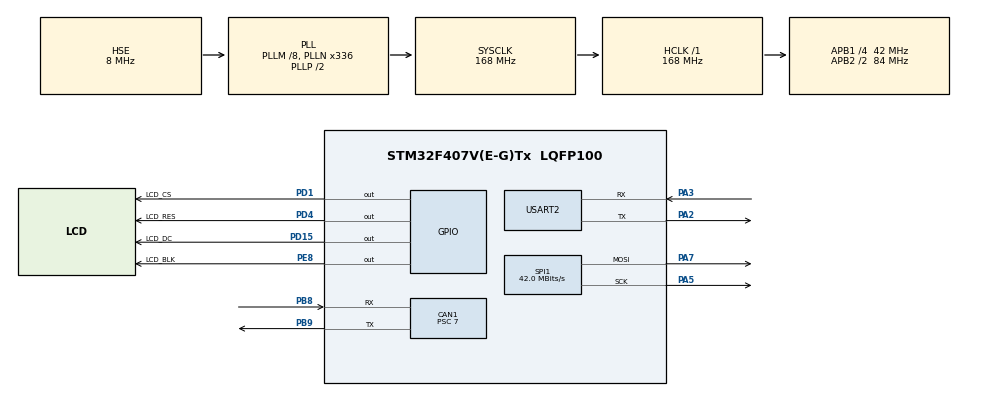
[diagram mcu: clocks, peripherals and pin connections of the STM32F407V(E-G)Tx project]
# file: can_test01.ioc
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CAN1.BS1=CAN_BS1_9TQ
CAN1.BS2=CAN_BS2_2TQ
CAN1.CalculateBaudRate=499999
CAN1.CalculateTimeBit=2000
CAN1.CalculateTimeQuantum=166.66666666666669
CAN1.Prescaler=7
FREERTOS.Mutexes01=LvglMutex,Dynamic,NULL,Available
FREERTOS.Queues01=CanRxQueue,90,uint8_t,0,Dynamic,NULL,NULL
FREERTOS.Tasks01=GuiTask,24,1024,StartDefaultTask,Default,NULL,Dynamic,NULL,NULL;CanTask,40,512,StartCanTask,Default,NULL,Dynamic,NULL,NULL;RtcTask,8,256,StartRtcTask,Default,NULL,Dynamic,NULL,NULL
FREERTOS.configTOTAL_HEAP_SIZE=20480
Mcu.Family=STM32F4
Mcu.Name=STM32F407V(E-G)Tx
Mcu.Package=LQFP100
NVIC.CAN1_RX0_IRQn=true\:5\:0\:false\:false\:true\:true\:true\:true\:true
NVIC.PriorityGroup=NVIC_PRIORITYGROUP_4
NVIC.TIM6_DAC_IRQn=true\:5\:0\:false\:false\:true\:true\:true\:true\:true
NVIC.TIM7_IRQn=true\:15\:0\:false\:false\:true\:false\:false\:true\:true
NVIC.TimeBase=TIM7_IRQn
NVIC.TimeBaseIP=TIM7
PA13.Mode=Serial_Wire
PA13.Signal=SYS_JTMS-SWDIO
PA14.Mode=Serial_Wire
PA14.Signal=SYS_JTCK-SWCLK
PA2.Mode=Asynchronous
PA2.Signal=USART2_TX
PA3.Mode=Asynchronous
PA3.Signal=USART2_RX
PA5.Mode=TX_Only_Simplex_Unidirect_Master
PA5.Signal=SPI1_SCK
PA7.Mode=TX_Only_Simplex_Unidirect_Master
PA7.Signal=SPI1_MOSI
PB8.Mode=CAN_Activate
PB8.Signal=CAN1_RX
PB9.Mode=CAN_Activate
PB9.Signal=CAN1_TX
PD1.GPIO_Label=LCD_CS
PD1.GPIO_ModeDefaultOutputPP=GPIO_MODE_OUTPUT_PP
PD1.GPIO_PuPd=GPIO_NOPULL
PD1.GPIO_Speed=GPIO_SPEED_FREQ_LOW
PD1.PinState=GPIO_PIN_SET
PD1.Signal=GPIO_Output
PD15.GPIO_Label=LCD_DC
PD15.GPIO_ModeDefaultOutputPP=GPIO_MODE_OUTPUT_PP
PD15.GPIO_PuPd=GPIO_NOPULL
PD15.GPIO_Speed=GPIO_SPEED_FREQ_LOW
PD15.PinState=GPIO_PIN_SET
PD15.Signal=GPIO_Output
PD4.GPIO_Label=LCD_RES
PD4.GPIO_ModeDefaultOutputPP=GPIO_MODE_OUTPUT_PP
PD4.GPIO_PuPd=GPIO_NOPULL
PD4.GPIO_Speed=GPIO_SPEED_FREQ_LOW
PD4.PinState=GPIO_PIN_SET
PD4.Signal=GPIO_Output
PE8.GPIO_Label=LCD_BLK
PE8.GPIO_ModeDefaultOutputPP=GPIO_MODE_OUTPUT_PP
PE8.GPIO_PuPd=GPIO_NOPULL
PE8.GPIO_Speed=GPIO_SPEED_FREQ_LOW
PE8.PinState=GPIO_PIN_RESET
PE8.Signal=GPIO_Output
PH0-OSC_IN.Mode=HSE-External-Oscillator
PH0-OSC_IN.Signal=RCC_OSC_IN
PH1-OSC_OUT.Mode=HSE-External-Oscillator
PH1-OSC_OUT.Signal=RCC_OSC_OUT
ProjectManager.HeapSize=0x200
ProjectManager.StackSize=0x700
ProjectManager.TargetToolchain=MDK-ARM V5.32
RCC.48MHZClocksFreq_Value=84000000
RCC.AHBFreq_Value=168000000
RCC.APB1CLKDivider=RCC_HCLK_DIV4
RCC.APB1Freq_Value=42000000
RCC.APB1TimFreq_Value=84000000
RCC.APB2CLKDivider=RCC_HCLK_DIV2
RCC.APB2Freq_Value=84000000
RCC.APB2TimFreq_Value=168000000
RCC.CortexFreq_Value=168000000
RCC.HCLKFreq_Value=168000000
RCC.HSE_VALUE=8000000
RCC.HSI_VALUE=16000000
RCC.LSE_VALUE=32768
RCC.PLLM=8
RCC.PLLN=336
RCC.PLLSourceVirtual=RCC_PLLSOURCE_HSE
RCC.SYSCLKFreq_VALUE=168000000
RCC.SYSCLKSource=RCC_SYSCLKSOURCE_PLLCLK
RCC.VCOOutputFreq_Value=336000000
SPI1.BaudRatePrescaler=SPI_BAUDRATEPRESCALER_2
SPI1.CLKPhase=SPI_PHASE_2EDGE
SPI1.CLKPolarity=SPI_POLARITY_HIGH
SPI1.CalculateBaudRate=42.0 MBits/s
SPI1.Direction=SPI_DIRECTION_2LINES
SPI1.Mode=SPI_MODE_MASTER
SPI1.VirtualType=VM_MASTER
TIM6.Prescaler=84-1
USART2.VirtualMode=VM_ASYNC
VP_FREERTOS_VS_CMSIS_V2.Mode=CMSIS_V2
VP_RTC_VS_RTC_Activate.Mode=RTC_Enabled
VP_RTC_VS_RTC_Calendar.Mode=RTC_Calendar
VP_SYS_VS_tim7.Mode=TIM7
VP_TIM6_VS_ClockSourceINT.Mode=Enable_Timer
board=custom

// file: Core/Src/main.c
/* USER CODE BEGIN Header */
/*********************************************************************************
 * @file           : main.c
 * @project        : 汽车方向盘双表盘液晶仪表系统 APP1 (STM32F407VET6 + ST7796 3.5寸 SPI LCD)
 * @author         : Antigravity & Engineering Team (电赛/工业级规范)
 * @brief          : APP1 向量表重映射、CAN 0x0B3 远程升级触发、双表盘阻尼指针与 RTC 协同调度
 *
 * ================================================================
 * 【系统硬件外设与通信拓扑架构档案】:
 *
 * 1. 系统主频与时钟树分配:
 *    - 外部高频晶振 HSE = 8 MHz
 *    - 经过主 PLL 倍频: /M(8) * N(336) / P(2) -> 主频 SYSCLK = 168 MHz
 *    - 高速总线 AHB = 168 MHz (驱动 Cortex-M4 内核、128KB SRAM 与 DMA)
 *    - 低速总线 APB1 = 42 MHz (驱动 CAN1 控制器, 波特率 500 kbps, 12TQ)
 *    - 高速总线 APB2 = 84 MHz (驱动 SPI1 主机模式, 42 MBits/s 极速刷屏)
 *
 * 2. 硬件引脚与外设映射清单:
 *    - 调试串口  : USART2 (TX: PA2) -> 115200 波特率，底层重定向 fputc/printf
 *    - CAN通信   : CAN1 (RX: PB8, TX: PB9) -> 复用 AF9, 外部接 VP230/TJA1050
 *    - 液晶屏显示 : ST7796S (SCK: PA5, MOSI: PA7) -> 硬件 SPI1 主机模式
 *    - 心跳时钟  : SysTick 1ms 硬件心跳 -> LV_TICK_CUSTOM 直接对接 HAL_GetTick()
 *    - 图形引擎  : LVGL 8.3.11 + SquareLine Studio 双表盘仪表 (时速 + 转速 + 报警)
 *
 * 3. Flash 分区与 CAN OTA 远程升级协同:
 *    - 本工程链接起始地址为 0x08010000 (Sector 4~7, 448KB)
 *    - 收到 CAN ID 0x0B3 (BE AD BE EF 01) 时，将 Sector 3 (0x0800C000) 的 ota_flag 置 1，
 *      随即调用 HAL_NVIC_SystemReset() 软复位进入 Bootloader 接收新固件 (如黑猫警长 APP2)
 * ================================================================
 *********************************************************************************/
/* USER CODE END Header */
#include "main.h"
#include "can_handle.h"
#include "cmsis_os.h"
#include "can.h"
#include "rtc.h"
#include "spi.h"
#include "tim.h"
#include "usart.h"
#include "gpio.h"

/* USER CODE BEGIN Includes */
#include "headfile.h"
#include "inter_flashif.h"
#include "inter_flash_cfg.h"
#include "lvgl.h"
#include "lv_port_disp_template.h"
#include "lv_demo_stress.h"
#include "ui.h"
/* USER CODE END Includes */

void SystemClock_Config(void);
void MX_FREERTOS_Init(void);
/* USER CODE BEGIN PFP */
void App_UI_Update(void);
void App_RTC_Update(void);
/* USER CODE END PFP */

int main(void)
{

  /* USER CODE BEGIN 1 */
  // ⚠️ 极其关键的手术：Bootloader 跳转前执行了 __disable_irq()，
  //    APP 启动第一件事必须将中断向量表重映射至 0x08010000 并重新打开全局中断！
  SCB->VTOR = INTER_FLASH_APP_ADDR;
  __set_PRIMASK(0U);
  /* USER CODE END 1 */

  /* MCU Configuration--------------------------------------------------------*/

  /* Reset of all peripherals, Initializes the Flash interface and the Systick. */
  HAL_Init();

  /* Configure the system clock */
  SystemClock_Config();

  /* Initialize all configured peripherals */
  MX_GPIO_Init();
  MX_CAN1_Init();
  MX_USART2_UART_Init();
  MX_SPI1_Init();
  MX_TIM6_Init();
  MX_RTC_Init();
  /* USER CODE BEGIN 2 */
  // ================================================================
  // 系统外设与 GUI 引擎初始化流水线 (严格步骤)
  // ================================================================

  // ------- 步骤 1: LVGL 图形库核心对象与内存池初始化 -------
  lv_init();

  // ------- 步骤 2: 注册显示驱动与局部行缓冲 (ST7796 480x320) -------
  lv_port_disp_init();

  // ------- 步骤 3: 构建由 SquareLine 导出的双仪表盘 UI 对象树 -------
  ui_init();

  // ------- 步骤 4: 启动硬件定时器 TIM6 -------
  HAL_TIM_Base_Start_IT(&htim6);

  // ------- 步骤 5: 配置 CAN1 硬件验收全通滤波器并校验 Sector 3 参数区 -------
  can_filter_init();
  inter_flash_cfg_init();

  // ------- 步骤 6: 实时时钟首帧零延迟秒刷 (开机即准，彻底消灭复位时的 1 秒死文本) -------
  {
      RTC_TimeTypeDef boot_time;
      RTC_DateTypeDef boot_date;
      char boot_t_buf[16];
      char boot_d_buf[16];

      // 立即读取当前 RTC 时间 (成对调用以解锁影子寄存器)
      HAL_RTC_GetTime(&hrtc, &boot_time, RTC_FORMAT_BIN);
      HAL_RTC_GetDate(&hrtc, &boot_date, RTC_FORMAT_BIN);

      // 格式化文本
      sprintf(boot_t_buf, "%02d:%02d:%02d", boot_time.Hours, boot_time.Minutes, boot_time.Seconds);
      sprintf(boot_d_buf, "20%02d-%02d-%02d", boot_date.Year, boot_date.Month, boot_date.Date);

      // 在屏幕首次刷新前，直接将标签覆盖为 RTC 真实时间，开机即准！
      lv_label_set_text(ui_time, boot_t_buf);
      lv_label_set_text(ui_data, boot_d_buf);
  }

  /* USER CODE END 2 */

  /* Init scheduler */
  osKernelInitialize();  /* Call init function for freertos objects (in cmsis_os2.c) */
  MX_FREERTOS_Init();

  /* Start scheduler */
  osKernelStart();

  /* We should never get here as control is now taken by the scheduler */

  /* Infinite loop */
  while (1)
  {

  }
}

void SystemClock_Config(void)
{
  RCC_OscInitTypeDef RCC_OscInitStruct = {0};
  RCC_ClkInitTypeDef RCC_ClkInitStruct = {0};

  /** Configure the main internal regulator output voltage
  */
  __HAL_RCC_PWR_CLK_ENABLE();
  __HAL_PWR_VOLTAGESCALING_CONFIG(PWR_REGULATOR_VOLTAGE_SCALE1);

  /** Initializes the RCC Oscillators according to the specified parameters
  * in the RCC_OscInitTypeDef structure.
  */
  RCC_OscInitStruct.OscillatorType = RCC_OSCILLATORTYPE_LSI|RCC_OSCILLATORTYPE_HSE;
  RCC_OscInitStruct.HSEState = RCC_HSE_ON;
  RCC_OscInitStruct.LSIState = RCC_LSI_ON;
  RCC_OscInitStruct.PLL.PLLState = RCC_PLL_ON;
  RCC_OscInitStruct.PLL.PLLSource = RCC_PLLSOURCE_HSE;
  RCC_OscInitStruct.PLL.PLLM = 8;
  RCC_OscInitStruct.PLL.PLLN = 336;
  RCC_OscInitStruct.PLL.PLLP = RCC_PLLP_DIV2;
  RCC_OscInitStruct.PLL.PLLQ = 4;
  if (HAL_RCC_OscConfig(&RCC_OscInitStruct) != HAL_OK)
  {
    Error_Handler();
  }

  /** Initializes the CPU, AHB and APB buses clocks
  */
  RCC_ClkInitStruct.ClockType = RCC_CLOCKTYPE_HCLK|RCC_CLOCKTYPE_SYSCLK
                              |RCC_CLOCKTYPE_PCLK1|RCC_CLOCKTYPE_PCLK2;
  RCC_ClkInitStruct.SYSCLKSource = RCC_SYSCLKSOURCE_PLLCLK;
  RCC_ClkInitStruct.AHBCLKDivider = RCC_SYSCLK_DIV1;
  RCC_ClkInitStruct.APB1CLKDivider = RCC_HCLK_DIV4;
  RCC_ClkInitStruct.APB2CLKDivider = RCC_HCLK_DIV2;

  if (HAL_RCC_ClockConfig(&RCC_ClkInitStruct, FLASH_LATENCY_5) != HAL_OK)
  {
    Error_Handler();
  }
}

/* USER CODE BEGIN 4 */
// ================================================================
// 串口输出重定向 (printf -> USART2 TX PA2)
// ================================================================
int fputc(int ch, FILE *f)
{
    HAL_UART_Transmit(&huart2, (uint8_t *)&ch, 1, 0xFFFF);
    return ch;
}

/**
 * @brief  仪表盘 UI 按需刷新 (检查各模块红旗标志位，只在有新数据时渲染)
 */
void App_UI_Update(void)
{
    // 1. 双表盘动力指针阻尼平滑逼近 (时速 0~180 km/h + 转速 0~8000 RPM)
    if (flag_power == 1)
    {
        flag_power = 0; // 收到新数据，红旗降下
    }

    static uint32_t needle_timer = 0;
    static int16_t cur_speed_x10 = 0; // 当前平滑车速 (x10 精度, 0~1800)
    static int16_t cur_rpm_x10 = 0;   // 当前平滑转速 (x10 精度, 0~800)

    // 每 15ms 执行一次微步进阻尼逼近 (约 66 FPS 丝滑物理体验)
    if (HAL_GetTick() - needle_timer >= 15)
    {
        needle_timer = HAL_GetTick();

        // (1) 车速平滑逼近 (限幅 180 km/h)
        int16_t target_s = (speed > 180 ? 180 : speed) * 10;
        int16_t diff_s = target_s - cur_speed_x10;
        if (diff_s != 0)
        {
            int16_t step_s = diff_s / 8;
            if (step_s == 0) step_s = (diff_s > 0) ? 1 : -1;
            cur_speed_x10 += step_s;
            int32_t angle_s = (2250 + (int32_t)cur_speed_x10 * 15 / 10) % 3600;
            lv_img_set_angle(ui_ImageSpeedNeedle, angle_s);
        }

        // (2) 转速平滑逼近 (限幅 8000 RPM, 对应 Rpm=80)
        int16_t target_r = (Rpm > 80 ? 80 : Rpm) * 10;
        int16_t diff_r = target_r - cur_rpm_x10;
        if (diff_r != 0)
        {
            int16_t step_r = diff_r / 8;
            if (step_r == 0) step_r = (diff_r > 0) ? 1 : -1;
            cur_rpm_x10 += step_r;
            int32_t angle_r = (2250 + (int32_t)cur_rpm_x10 * 270 / 80) % 3600;
            lv_img_set_angle(ui_ImageRpmNeedle, angle_r);
        }
    }

    // 2. 水温报警指示灯 (1: 红灯报警, 0: 绿灯正常)
    if (flag_temp == 1)
    {
        flag_temp = 0;
        if (temp == 1)
            lv_obj_set_style_img_recolor(ui_IconTemp, lv_color_hex(0xFF1744), 0); // 报警红
        else
            lv_obj_set_style_img_recolor(ui_IconTemp, lv_color_hex(0x00F374), 0); // 正常绿
        lv_obj_set_style_img_recolor_opa(ui_IconTemp, 255, 0);
    }

    // 3. 安全带指示灯 (1: 红灯未系, 0: 绿灯已系)
    if (flag_belt == 1)
    {
        flag_belt = 0;
        if (belt == 1)
            lv_obj_set_style_img_recolor(ui_IconSeatbelt, lv_color_hex(0xFF1744), 0); // 报警红
        else
            lv_obj_set_style_img_recolor(ui_IconSeatbelt, lv_color_hex(0x00F374), 0); // 正常绿
        lv_obj_set_style_img_recolor_opa(ui_IconSeatbelt, 255, 0);
    }

    // 4. 车灯指示灯 (1: 近光黄, 2: 远光红, 0: 正常绿)
    if (flag_light == 1)
    {
        flag_light = 0;
        if (light == 1)
            lv_obj_set_style_img_recolor(ui_IconLowBeam, lv_color_hex(0xFFD600), 0); // 近光黄
        else if (light == 2)
            lv_obj_set_style_img_recolor(ui_IconLowBeam, lv_color_hex(0xFF1744), 0); // 远光红
        else
            lv_obj_set_style_img_recolor(ui_IconLowBeam, lv_color_hex(0x00F374), 0); // 正常绿
        lv_obj_set_style_img_recolor_opa(ui_IconLowBeam, 255, 0);
    }

    // 5. 转向灯 (1: 绿色开启, 0: 暗灰关闭)
    if (flag_turn_light == 1)
    {
        flag_turn_light = 0;
        if (turn_light == 1)
            lv_obj_set_style_img_recolor(ui_IconTurnLeft, lv_color_hex(0x00F374), 0); // 开启绿
        else
            lv_obj_set_style_img_recolor(ui_IconTurnLeft, lv_color_hex(0x555555), 0); // 关闭暗灰
        lv_obj_set_style_img_recolor_opa(ui_IconTurnLeft, 255, 0);
    }
}

/**
 * @brief  RTC 硬件时钟 1 秒周期刷新 (驱动中央顶部 ui_time 与 ui_data)
 */
void App_RTC_Update(void)
{
    static uint32_t rtc_update_timer = 0;
    if (HAL_GetTick() - rtc_update_timer >= 1000)
    {
        rtc_update_timer = HAL_GetTick();

        RTC_TimeTypeDef cur_time;
        RTC_DateTypeDef cur_date;
        char time_str_buf[16];
        char date_str_buf[16];

        // STM32 HAL 硬件规则: 必须先读 Time 紧接着读 Date，成对调用方可解锁影子寄存器
        HAL_RTC_GetTime(&hrtc, &cur_time, RTC_FORMAT_BIN);
        HAL_RTC_GetDate(&hrtc, &cur_date, RTC_FORMAT_BIN);

        // 格式化时间与日期字符串
        sprintf(time_str_buf, "%02d:%02d:%02d", cur_time.Hours, cur_time.Minutes, cur_time.Seconds);
        sprintf(date_str_buf, "20%02d-%02d-%02d", cur_date.Year, cur_date.Month, cur_date.Date);

        // 刷新 LVGL 文本标签控件
        lv_label_set_text(ui_time, time_str_buf);
        lv_label_set_text(ui_data, date_str_buf);
    }
}
/* USER CODE END 4 */

void HAL_TIM_PeriodElapsedCallback(TIM_HandleTypeDef *htim)
{
  if (htim->Instance == TIM7)
  {
    HAL_IncTick();
  }
}

void Error_Handler(void)
{
  __disable_irq();
  while (1)
  {
  }
}

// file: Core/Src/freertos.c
/* USER CODE BEGIN Header */
/**
  ******************************************************************************
  * File Name          : freertos.c
  * Description        : Code for freertos applications
  ******************************************************************************
  * @attention
  *
  * Copyright (c) 2026 STMicroelectronics.
  * All rights reserved.
  *
  * This software is licensed under terms that can be found in the LICENSE file
  * in the root directory of this software component.
  * If no LICENSE file comes with this software, it is provided AS-IS.
  *
  ******************************************************************************
  */
/* USER CODE END Header */

#include "FreeRTOS.h"
#include "task.h"
#include "main.h"
#include "cmsis_os.h"

/* USER CODE BEGIN Includes */
#include "stdio.h"
#include "can_handle.h"
#include "rtc.h"
#include "inter_flash_cfg.h"
#include "lvgl.h"
#include "ui.h"
/* USER CODE END Includes */

/* Definitions for GuiTask */
osThreadId_t GuiTaskHandle;
const osThreadAttr_t GuiTask_attributes = {
  .name = "GuiTask",
  .stack_size = 1024 * 4,
  .priority = (osPriority_t) osPriorityNormal,
};
/* Definitions for CanTask */
osThreadId_t CanTaskHandle;
const osThreadAttr_t CanTask_attributes = {
  .name = "CanTask",
  .stack_size = 512 * 4,
  .priority = (osPriority_t) osPriorityHigh,
};
/* Definitions for RtcTask */
osThreadId_t RtcTaskHandle;
const osThreadAttr_t RtcTask_attributes = {
  .name = "RtcTask",
  .stack_size = 256 * 4,
  .priority = (osPriority_t) osPriorityLow,
};
/* Definitions for CanRxQueue */
osMessageQueueId_t CanRxQueueHandle;
const osMessageQueueAttr_t CanRxQueue_attributes = {
  .name = "CanRxQueue"
};
/* Definitions for LvglMutex */
osMutexId_t LvglMutexHandle;
const osMutexAttr_t LvglMutex_attributes = {
  .name = "LvglMutex"
};

/* USER CODE BEGIN FunctionPrototypes */
// ★ 车规级 E2E CRC8 计算函数 (SAE J1850 标准：多项式 0x1D，初值 0xFF，结果异或 0xFF)
static uint8_t e2e_calc_crc8(const uint8_t *data, uint8_t len)
{
  uint8_t crc = 0xFFU;
  for (uint8_t i = 0U; i < len; i++)
  {
    crc ^= data[i];
    for (uint8_t bit = 0U; bit < 8U; bit++)
    {
      if ((crc & 0x80U) != 0U)
        crc = (uint8_t)((crc << 1U) ^ 0x1DU);
      else
        crc <<= 1U;
    }
  }
  return (uint8_t)(crc ^ 0xFFU);
}
/* USER CODE END FunctionPrototypes */

void StartDefaultTask(void *argument);
void StartCanTask(void *argument);
void StartRtcTask(void *argument);

void MX_FREERTOS_Init(void); /* (MISRA C 2004 rule 8.1) */

void MX_FREERTOS_Init(void) {
  /* Create the mutex(es) */
  /* creation of LvglMutex */
  LvglMutexHandle = osMutexNew(&LvglMutex_attributes);

  /* Create the queue(s) */
  /* creation of CanRxQueue */
  CanRxQueueHandle = osMessageQueueNew (90, sizeof(uint8_t), &CanRxQueue_attributes);

  /* Create the thread(s) */
  /* creation of GuiTask */
  GuiTaskHandle = osThreadNew(StartDefaultTask, NULL, &GuiTask_attributes);

  /* creation of CanTask */
  CanTaskHandle = osThreadNew(StartCanTask, NULL, &CanTask_attributes);

  /* creation of RtcTask */
  RtcTaskHandle = osThreadNew(StartRtcTask, NULL, &RtcTask_attributes);

}

void StartDefaultTask(void *argument)
{
  /* USER CODE BEGIN StartDefaultTask */
  static int16_t cur_speed_x10 = 0; // 当前时速指针 (0 ~ 1800, 对应 0 ~ 180 km/h)
  static int16_t cur_rpm_x10 = 0;   // 当前转速指针 (0 ~ 800, 对应 0 ~ 8000 RPM)

  /* Infinite loop */
  for(;;)
  {
    // 步骤 1：借钥匙进入 LVGL 安全区
    osMutexAcquire(LvglMutexHandle, osWaitForever);

    // 步骤 2：车速指针平滑逼近 (限幅 180 km/h)
    int16_t target_s = (speed > 180 ? 180 : speed) * 10;
    int16_t diff_s = target_s - cur_speed_x10;
    if (diff_s != 0)
    {
      int16_t step_s = diff_s / 8;
      if (step_s == 0) step_s = (diff_s > 0) ? 1 : -1;
      cur_speed_x10 += step_s;
      int32_t angle_s = (2250 + (int32_t)cur_speed_x10 * 15 / 10) % 3600;
      lv_img_set_angle(ui_ImageSpeedNeedle, angle_s); // 旋转时速表指针
    }

    // 步骤 3：转速指针平滑逼近 (限幅 8000 RPM, 对应 Rpm=80)
    int16_t target_r = (Rpm > 80 ? 80 : Rpm) * 10;
    int16_t diff_r = target_r - cur_rpm_x10;
    if (diff_r != 0)
    {
      int16_t step_r = diff_r / 8;
      if (step_r == 0) step_r = (diff_r > 0) ? 1 : -1;
      cur_rpm_x10 += step_r;
      int32_t angle_r = (2250 + (int32_t)cur_rpm_x10 * 270 / 80) % 3600;
      lv_img_set_angle(ui_ImageRpmNeedle, angle_r);   // 旋转转速表指针
    }

    // 步骤 4：LVGL 渲染引擎重绘脏矩形
    lv_timer_handler();

    // 步骤 5：还钥匙，退出安全区
    osMutexRelease(LvglMutexHandle);

    // 步骤 6：上电秒显后，精准休眠 15ms，保持 66 FPS 丝滑动画
    osDelay(15);
  }
  /* USER CODE END StartDefaultTask */
}

void StartCanTask(void *argument)
{
  /* USER CODE BEGIN StartCanTask */
  uint8_t rx_byte = 0;       // 1. 用来接队列里弹出来的单字节
  uint8_t msg_buf[9] = {0};  // 2. 用来拼装 1帧完整的报文 (1字节ID + 8字节数据 = 9字节)
  uint8_t msg_idx = 0;       // 3. 记录当前拼到了第几个字节 (0 ~ 9)
  /* Infinite loop */
  for(;;)
  {
    osMessageQueueGet(CanRxQueueHandle, &rx_byte, NULL, osWaitForever);
    // 1. 如果当前处于第 0 步：找有效报文 ID (0x0B3 升级帧 或 0x0B4 仪表帧)
    if (msg_idx == 0)
    {
      if (rx_byte == CAN_ID_CALL_OTA || rx_byte == CAN_ID_UI)
      {
        msg_buf[msg_idx++] = rx_byte; // 抓到合法 ID，存进第 0 位，msg_idx 变成 1
      }
    }
    // 2. 已经抓到了 ID，接下来老老实实接收后面的 8 个数据字节
    else
    {
      msg_buf[msg_idx++] = rx_byte;
      // 3. 凑齐了 9 个字节！一帧完整的报文到手！
      if (msg_idx == 9)
      {
        uint8_t r_id = msg_buf[0];
        uint8_t *get_data = &msg_buf[1];
        // ---- 分支 A：收到 0x0B3 远程 OTA 升级唤醒帧 ----
        if (r_id == CAN_ID_CALL_OTA)
        {
          // 校验暗号：BE AD BE EF 01
          if (get_data[0] == 0xBE && get_data[1] == 0xAD &&
              get_data[2] == 0xBE && get_data[3] == 0xEF &&
              get_data[4] == 0x01)
          {
            // ★ ISO 26262 功能安全前置互锁：必须车速=0 且 转速=0 才允许进入刷写会话
            if (speed == 0 && Rpm == 0)
            {
              printf("[Safe-OTA] Interlock PASS (Speed=0, RPM=0). Resetting to Bootloader...\r\n");
              inter_flash_cfg_set_app_update_flag(1U); // 写入 Sector 3 升级标志位
              osDelay(100);                            // RTOS 延时 100ms 保证串口打印发完
              HAL_NVIC_SystemReset();                  // 软复位，直接跳进 Bootloader！
            }
            else
            {
              // 行车中拒绝升级（对标 UDS NRC 0x22 ConditionsNotCorrect），不写标志位、不复位
              printf("[Safe-OTA] REJECTED (NRC 0x22)! Vehicle moving: Speed=%d km/h, RPM=%d00\r\n", speed, Rpm);
            }
          }
        }
        // ---- 分支 B：收到 0x0B4 仪表盘控制帧 (首字节必须是 0xAF 帧头) ----
        else if (r_id == CAN_ID_UI && get_data[0] == CAN_MSG_HEAD)
        {
          // ★ E2E 校验：核对 Byte7 的 SAE J1850 CRC8 是否匹配前 7 字节
          uint8_t calc_crc = e2e_calc_crc8(get_data, 7U);
          if (get_data[7] != calc_crc)
          {
            printf("[E2E Error] CRC8 mismatch! Recv: 0x%02X, Calc: 0x%02X\r\n", get_data[7], calc_crc);
            msg_idx = 0;
            continue;
          }

          switch (get_data[1])
          {
            case E_UI_TYPE_RPM: // 0x01: 发动机转速与时速
              Rpm = get_data[2];
              speed = get_data[3];
              break;

            case E_UI_TYPE_TEMP: // 0x02: 水温报警
              temp = get_data[2];
              osMutexAcquire(LvglMutexHandle, osWaitForever);
              if (temp == 1)
                lv_obj_set_style_img_recolor(ui_IconTemp, lv_color_hex(0xFF1744), 0); // 报警红
              else
                lv_obj_set_style_img_recolor(ui_IconTemp, lv_color_hex(0x00F374), 0); // 正常绿
              lv_obj_set_style_img_recolor_opa(ui_IconTemp, 255, 0);
              osMutexRelease(LvglMutexHandle);
              break;

            case E_UI_TYPE_BELT: // 0x03: 安全带报警
              belt = get_data[2];
              osMutexAcquire(LvglMutexHandle, osWaitForever); // 1. 借钥匙
              if (belt == 1)
                lv_obj_set_style_img_recolor(ui_IconSeatbelt, lv_color_hex(0xFF1744), 0); // 报警红
              else
                lv_obj_set_style_img_recolor(ui_IconSeatbelt, lv_color_hex(0x00F374), 0); // 正常绿
              lv_obj_set_style_img_recolor_opa(ui_IconSeatbelt, 255, 0);
              osMutexRelease(LvglMutexHandle);                // 2. 还钥匙
              break;

            case E_UI_TYPE_LIGHT: // 0x04: 大灯指示
              light = get_data[2];
              osMutexAcquire(LvglMutexHandle, osWaitForever); // 1. 借钥匙
              if (light == 1)
                lv_obj_set_style_img_recolor(ui_IconLowBeam, lv_color_hex(0xFFD600), 0); // 近光黄
              else if (light == 2)
                lv_obj_set_style_img_recolor(ui_IconLowBeam, lv_color_hex(0xFF1744), 0); // 远光红
              else
                lv_obj_set_style_img_recolor(ui_IconLowBeam, lv_color_hex(0x00F374), 0); // 正常绿
              lv_obj_set_style_img_recolor_opa(ui_IconLowBeam, 255, 0);
              osMutexRelease(LvglMutexHandle);
              break;

            case E_UI_TYPE_TURN_LIGHT: // 0x05: 转向灯
              turn_light = get_data[2];
              osMutexAcquire(LvglMutexHandle, osWaitForever); // 1. 借钥匙
              if (turn_light == 1)
                lv_obj_set_style_img_recolor(ui_IconTurnLeft, lv_color_hex(0x00F374), 0); // 开启绿
              else
                lv_obj_set_style_img_recolor(ui_IconTurnLeft, lv_color_hex(0x555555), 0); // 关闭暗灰
              lv_obj_set_style_img_recolor_opa(ui_IconTurnLeft, 255, 0);
              osMutexRelease(LvglMutexHandle);
              break;

            case E_UI_TYPE_DATE: // 0x06: 年月日校准
            {
              RTC_DateTypeDef sDate = {0};
              sDate.Year = get_data[3];
              sDate.Month = get_data[4];
              sDate.Date = get_data[5];
              sDate.WeekDay = RTC_WEEKDAY_MONDAY;
              HAL_RTC_SetDate(&hrtc, &sDate, RTC_FORMAT_BIN);
              break;
            }

            case E_UI_TYPE_TIME: // 0x07: 时分秒校准
            {
              RTC_TimeTypeDef sTime = {0};
              sTime.Hours = get_data[2];
              sTime.Minutes = get_data[3];
              sTime.Seconds = get_data[4];
              HAL_RTC_SetTime(&hrtc, &sTime, RTC_FORMAT_BIN);
              break;
            }
            default:
              break;
          }
        }
        msg_idx = 0; // 处理完，重置状态机计数器，准备等下一帧！
      }
    }
  }
  /* USER CODE END StartCanTask */
}

void StartRtcTask(void *argument)
{
  /* USER CODE BEGIN StartRtcTask */
	    RTC_TimeTypeDef cur_time;
    RTC_DateTypeDef cur_date;
    char time_str_buf[16];
    char date_str_buf[16];
  /* Infinite loop */
  for(;;)
  {
	    // 2. 读取硬件 RTC (成对读取，解锁影子寄存器)
    HAL_RTC_GetTime(&hrtc, &cur_time, RTC_FORMAT_BIN);
    HAL_RTC_GetDate(&hrtc, &cur_date, RTC_FORMAT_BIN);
    // 3. 格式化为字符串
    sprintf(time_str_buf, "%02d:%02d:%02d", cur_time.Hours, cur_time.Minutes, cur_time.Seconds);
    sprintf(date_str_buf, "20%02d-%02d-%02d", cur_date.Year, cur_date.Month, cur_date.Date);
	      // 3. 借钥匙进入安全区 (防止与 GuiTask 冲突)
    osMutexAcquire(LvglMutexHandle, osWaitForever);

    // 4. 极速更新屏幕顶部的两个文本标签
    lv_label_set_text(ui_time, time_str_buf);
    lv_label_set_text(ui_data, date_str_buf);

    // 5. 立刻还钥匙，退出安全区
    osMutexRelease(LvglMutexHandle);

    osDelay(1000);
  }
  /* USER CODE END StartRtcTask */
}
